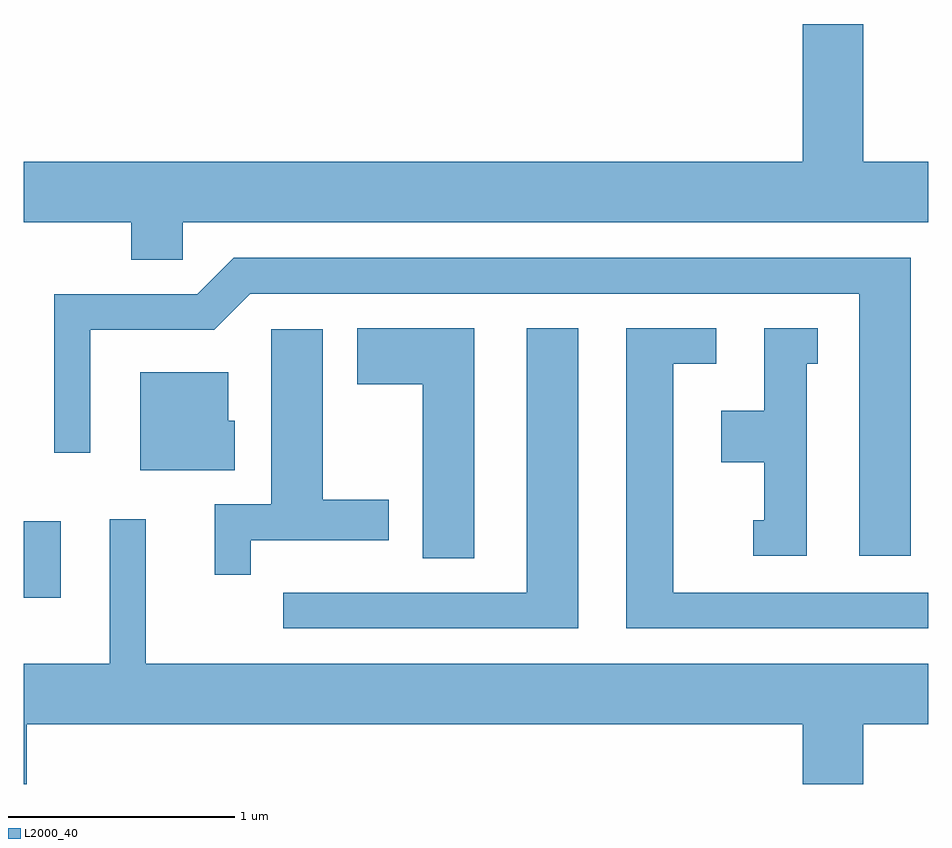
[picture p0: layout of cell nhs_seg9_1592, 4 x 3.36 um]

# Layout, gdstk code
import gdstk
lib = gdstk.Library(unit=1e-6, precision=1e-09)
def R(c, l, rs):  # rectangles x0, y0, x1, y1
    for r in rs: c.add(gdstk.rectangle(r[:2], r[2:], *l))
def P(c, l, *ps):  # polygons
    for p in ps: c.add(gdstk.Polygon(p, *l))
L2000_40 = (2000, 40)

nhs_seg9_1592 = lib.new_cell('nhs_seg9_1592')
R(nhs_seg9_1592, L2000_40, [(231.611,2001.256,231.774,2001.594)])
P(nhs_seg9_1592, L2000_40, [(232.314,2002.916),(235.611,2002.916),(235.611,2003.184),(235.324,2003.184),(235.324,2003.794),(235.056,2003.794),(235.056,2003.184),(231.611,2003.184),(231.611,2002.916),(232.086,2002.916),(232.086,2002.751),(232.314,2002.751)],
  [(235.534,2002.759),(232.539,2002.759),(232.379,2002.599),(231.746,2002.599),(231.746,2001.898),(231.904,2001.898),(231.904,2002.441),(232.452,2002.441),(232.612,2002.601),(235.306,2002.601),(235.306,2001.441),(235.534,2001.441)],
  [(235.611,2001.279),(234.484,2001.279),(234.484,2002.291),(234.673,2002.291),(234.673,2002.449),(234.276,2002.449),(234.276,2001.121),(235.611,2001.121)],
  [(234.064,2002.449),(233.836,2002.449),(233.836,2001.279),(232.758,2001.279),(232.758,2001.121),(234.064,2001.121)],
  [(233.604,2002.449),(233.086,2002.449),(233.086,2002.201),(233.376,2002.201),(233.376,2001.431),(233.604,2001.431)],
  [(235.074,2002.291),(235.123,2002.291),(235.123,2002.449),(234.886,2002.449),(234.886,2002.084),(234.696,2002.084),(234.696,2001.856),(234.886,2001.856),(234.886,2001.599),(234.838,2001.599),(234.838,2001.441),(235.074,2001.441)],
  [(232.614,2001.511),(233.224,2001.511),(233.224,2001.689),(232.934,2001.689),(232.934,2002.444),(232.706,2002.444),(232.706,2001.669),(232.456,2001.669),(232.456,2001.358),(232.614,2001.358)],
  [(232.544,2002.039),(232.514,2002.039),(232.514,2002.254),(232.126,2002.254),(232.126,2001.821),(232.544,2001.821)],
  [(231.624,2000.696),(235.056,2000.696),(235.056,2000.432),(235.324,2000.432),(235.324,2000.696),(235.611,2000.696),(235.611,2000.964),(232.149,2000.964),(232.149,2001.603),(231.991,2001.603),(231.991,2000.964),(231.611,2000.964),(231.611,2000.432),(231.624,2000.432)])

lib.write_gds('nhs_seg9_1592.gds')
